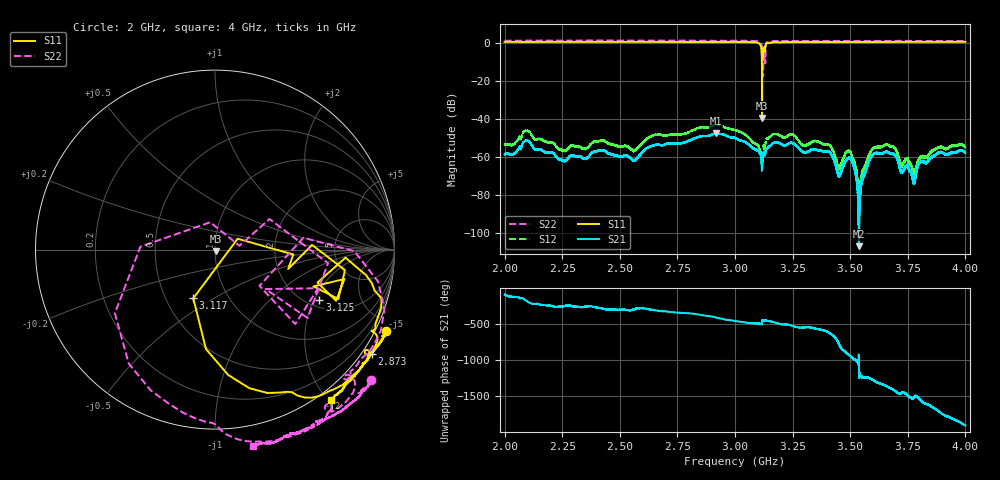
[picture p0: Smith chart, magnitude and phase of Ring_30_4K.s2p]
!Agilent Technologies,N5230C,SG49000117,A.08.50.07
!Agilent N5230C: A.08.50.07
!Date: Thursday, May 09, 2024 01:59:58
!Correction: S11(Full 2 Port(1,2))
!S21(Full 2 Port(1,2))
!S12(Full 2 Port(1,2))
!S22(Full 2 Port(1,2))
!S2P File: Measurements: S11, S21, S12, S22:
# Hz S  MA  R 50
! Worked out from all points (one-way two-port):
!   20001 points, 2 GHz to 4 GHz, reference 50 ohm
!   highest |S21| = -47.49 dB at 2.918 GHz (marker M1); lowest = -106.7 dB at 3.538 GHz (marker M2)
!   lowest |S11| = -39.5 dB at 3.118 GHz (marker M3), VSWR 1.02, Z = 50.5 - j0.96 ohm
!   |S11| at or under -10 dB: 3.116628 GHz to 3.118595 GHz (1.968 MHz wide, 0.0631 % of centre)
!   |S22| runs from -17.5 to 1.2 dB; largest |S21 - S12| = 0.0038
!   S11 on the Smith chart (normalised r, x): 2 GHz: -0.56, -4.39; 2.873 GHz: -0.28, -3.29; 3.117 GHz: 0.69, -0.41; 3.125 GHz: 2.31, -2.20; 4 GHz: -0.15, -2.02
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2e9  1.056 -25.3  0.001179 -102.3  0.002124 -121.6  1.132 -40.0
2.0957e9  1.051 -25.8  0.002763 170.4  0.004963 151.7  1.136 -41.0
2.3334e9  1.061 -27.3  0.001016 86.0  0.001742 64.9  1.142 -44.9
2.6667e9  1.054 -30.2  0.002109 34.6  0.00384 10.5  1.141 -50.6
2.8725e9  1.047 -33.6  0.003593 -32.6  0.005916 -58.3  1.129 -56.0
2.9177e9  1.046 -34.7  0.00422 -56.9  0.006986 -83.0  1.126 -57.3
3e9  1.047 -37.2  0.003183 -105.4  0.00509 -131.1  1.128 -60.7
3.0975e9  1.015 -50.9  0.001497 -138.1  0.002061 -166.9  1.093 -78.3
3.1167e9  0.2972 -114.0  0.0005455 -143.8  0.0004849 -157.5  0.7962 -127.1
3.1176e9  0.01065 -63.2  0.0006192 -118.9  0.0005482 -126.5  0.7132 -140.1
3.1253e9  0.6447 -25.6  0.001275 -108.7  0.001867 -116.7  0.6717 -25.8
3.1433e9  0.9842 -24.4  0.00174 -106.1  0.003086 -124.2  1.017 -38.0
3.3334e9  1.048 -39.7  0.001597 164.9  0.002459 139.9  1.12 -62.1
3.4104e9  1.048 -41.2  0.001356 89.5  0.002028 61.9  1.119 -64.5
3.452e9  1.048 -41.9  0.0003392 -69.4  0.0004705 -98.1  1.117 -66.0
3.4977e9  1.048 -42.9  0.0009511 138.3  0.001394 104.1  1.111 -67.4
3.5377e9  1.049 -43.9  4.609e-06 18.2  2.162e-05 -11.5  1.11 -68.7
3.5944e9  1.046 -45.2  0.001072 171.8  0.001545 143.2  1.113 -70.2
3.6667e9  1.05 -46.7  0.001288 62.5  0.002054 34.6  1.118 -72.2
3.7759e9  1.056 -48.5  0.0002246 -75.9  0.0003407 -120.9  1.118 -75.0
3.8817e9  1.053 -50.2  0.001291 99.0  0.001796 69.3  1.11 -77.2
4e9  1.059 -52.4  0.001302 -100.6  0.001757 -128.5  1.118 -79.0
